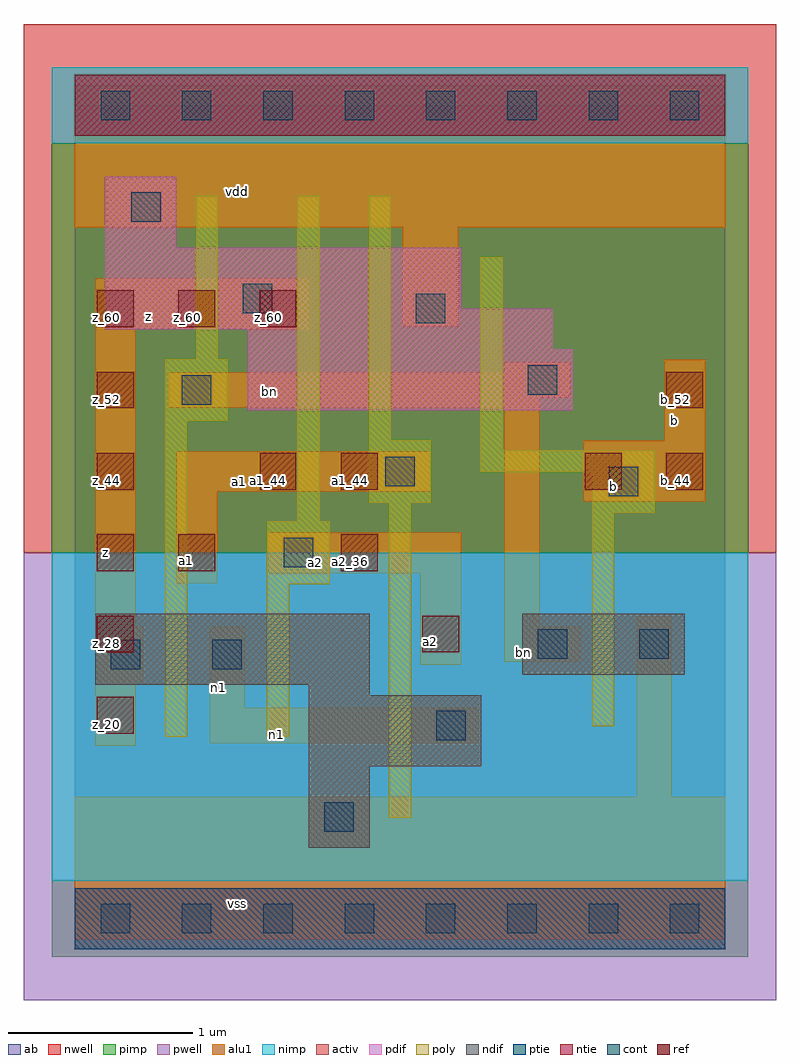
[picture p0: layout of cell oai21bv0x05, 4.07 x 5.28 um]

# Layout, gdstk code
import gdstk
lib = gdstk.Library(unit=1e-6, precision=2.5e-09)
def R(c, l, rs):  # rectangles x0, y0, x1, y1
    for r in rs: c.add(gdstk.rectangle(r[:2], r[2:], *l))
def A(c, l, x, y, w, h, nx, ny, dx, dy):  # array of equal rectangles
    R(c, l, [(x+i*dx, y+j*dy, x+i*dx+w, y+j*dy+h) for i in range(nx) for j in range(ny)])
ndif = (3, 0)
pdif = (4, 0)
ntie = (5, 0)
ptie = (6, 0)
ref = (24, 0)
cont = (25, 0)
pwell = (41, 0)
nwell = (42, 0)
activ = (43, 0)
pimp = (44, 0)
nimp = (45, 0)
poly = (46, 0)
alu1 = (49, 0)
ab = (63, 0)

oai21bv0x05 = lib.new_cell('oai21bv0x05')
R(oai21bv0x05, ndif, [(1.265,0.385,1.595,0.825), (1.265,0.825,2.2,1.21), (1.265,1.21,1.595,1.265), (0.11,1.265,1.595,1.65), (2.42,1.32,3.3,1.65)])
R(oai21bv0x05, pdif, [(0.935,2.75,2.695,3.08), (0.935,3.08,2.585,3.19), (0.165,3.19,2.585,3.3), (0.165,3.3,2.09,3.63), (0.165,3.63,0.55,4.015)])
R(oai21bv0x05, ntie, [(0,4.235,3.52,4.565)])
R(oai21bv0x05, ptie, [(0,-0.165,3.52,0.165)])
A(oai21bv0x05, ref, 0.12, 1, 0.2, 0.2, 1, 5, 0, 0.44)
A(oai21bv0x05, ref, 0.12, 3.2, 0.2, 0.2, 3, 1, 0.44, 0)
R(oai21bv0x05, ref, [(1.88,1.44,2.08,1.64), (0.56,1.88,0.76,2.08), (1.44,1.88,1.64,2.08), (1,2.32,1.2,2.52), (1.44,2.32,1.64,2.52), (2.76,2.32,2.96,2.52), (3.2,2.32,3.4,2.52), (3.2,2.76,3.4,2.96)])
A(oai21bv0x05, cont, 0.14, -0.08, 0.16, 0.16, 8, 2, 0.44, 4.4)
R(oai21bv0x05, cont, [(1.35,0.47,1.51,0.63), (1.955,0.965,2.115,1.125), (0.195,1.35,0.355,1.51), (0.745,1.35,0.905,1.51), (2.505,1.405,2.665,1.565), (3.055,1.405,3.215,1.565), (1.13,1.9,1.29,2.06), (2.89,2.285,3.05,2.445), (1.68,2.34,1.84,2.5), (0.58,2.78,0.74,2.94), (2.45,2.835,2.61,2.995), (1.845,3.22,2.005,3.38), (0.91,3.275,1.07,3.435), (0.305,3.77,0.465,3.93)])
R(oai21bv0x05, pwell, [(-0.275,-0.44,3.795,1.98)])
R(oai21bv0x05, nwell, [(-0.275,1.98,3.795,4.84)])
R(oai21bv0x05, activ, [(0,-0.165,3.52,0.165), (1.265,0.385,1.595,0.825), (1.265,0.825,2.2,1.21), (1.265,1.21,1.595,1.265), (0.11,1.265,1.595,1.65), (2.42,1.32,3.3,1.65), (0.935,2.75,2.695,3.08), (0.935,3.08,2.585,3.19), (0.165,3.19,2.585,3.3), (0.165,3.3,2.09,3.63), (0.165,3.63,0.55,4.015), (0,4.235,3.52,4.565)])
R(oai21bv0x05, pimp, [(-0.125,-0.205,3.645,0.205), (-0.125,1.98,3.645,4.195)])
R(oai21bv0x05, nimp, [(-0.125,0.205,3.645,1.98), (-0.125,4.195,3.645,4.605)])
R(oai21bv0x05, poly, [(1.7,0.545,1.82,2.25), (0.49,0.985,0.61,2.69), (1.04,0.985,1.16,1.81), (2.8,1.04,2.92,2.195), (1.04,1.81,1.38,2.15), (1.205,2.15,1.325,3.91), (2.8,2.195,3.14,2.415), (1.59,2.25,1.93,2.59), (2.195,2.415,3.14,2.535), (2.195,2.535,2.315,3.58), (1.59,2.59,1.71,3.91), (0.49,2.69,0.83,3.03), (0.655,3.03,0.775,3.91)])
R(oai21bv0x05, alu1, [(0,-0.11,3.52,0.66), (3.04,0.66,3.23,1.635), (0.11,0.935,0.33,1.28), (0.73,0.95,2.185,1.14), (0.73,1.14,0.92,1.58), (0.11,1.28,0.37,1.58), (1.87,1.375,2.09,1.87), (2.325,1.39,2.735,1.58), (0.11,1.58,0.33,3.19), (2.325,1.58,2.515,2.765), (0.55,1.815,0.77,2.31), (1.045,1.87,2.09,2.09), (2.75,2.255,3.41,2.585), (0.55,2.31,1.925,2.53), (3.19,2.585,3.41,3.025), (0.51,2.765,2.515,2.82), (0.51,2.82,2.68,2.955), (2.325,2.955,2.68,3.01), (0.11,3.19,1.265,3.465), (1.775,3.205,2.075,3.74), (0,3.74,3.52,4.51)])
R(oai21bv0x05, ab, [(0,0,3.52,4.4)])
oai21bv0x05.add(gdstk.Label('vss', (0.88,0.0825), layer=49, texttype=0))
oai21bv0x05.add(gdstk.Label('n1', (1.0925,0.9975), layer=49, texttype=0))
oai21bv0x05.add(gdstk.Label('bn', (2.4275,1.4375), layer=49, texttype=0))
oai21bv0x05.add(gdstk.Label('b', (2.915,2.3375), layer=49, texttype=0))
oai21bv0x05.add(gdstk.Label('b', (3.245,2.695), layer=49, texttype=0))
oai21bv0x05.add(gdstk.Label('a2', (1.925,1.4975), layer=49, texttype=0))
oai21bv0x05.add(gdstk.Label('n1', (0.7775,1.25), layer=49, texttype=0))
oai21bv0x05.add(gdstk.Label('a2', (1.305,1.925), layer=49, texttype=0))
oai21bv0x05.add(gdstk.Label('a1', (0.605,1.9375), layer=49, texttype=0))
oai21bv0x05.add(gdstk.Label('a1', (0.8925,2.365), layer=49, texttype=0))
oai21bv0x05.add(gdstk.Label('bn', (1.0525,2.8525), layer=49, texttype=0))
oai21bv0x05.add(gdstk.Label('z', (0.165,1.9825), layer=49, texttype=0))
oai21bv0x05.add(gdstk.Label('z', (0.3975,3.2575), layer=49, texttype=0))
oai21bv0x05.add(gdstk.Label('vdd', (0.88,3.9325), layer=49, texttype=0))
oai21bv0x05.add(gdstk.Label('z_60', (0.61,3.25), layer=24, texttype=0))
oai21bv0x05.add(gdstk.Label('z_60', (1.05,3.25), layer=24, texttype=0))
oai21bv0x05.add(gdstk.Label('z_20', (0.17,1.05), layer=24, texttype=0))
oai21bv0x05.add(gdstk.Label('z_28', (0.17,1.49), layer=24, texttype=0))
oai21bv0x05.add(gdstk.Label('z_36', (0.17,1.93), layer=24, texttype=0))
oai21bv0x05.add(gdstk.Label('z_44', (0.17,2.37), layer=24, texttype=0))
oai21bv0x05.add(gdstk.Label('z_52', (0.17,2.81), layer=24, texttype=0))
oai21bv0x05.add(gdstk.Label('z_60', (0.17,3.25), layer=24, texttype=0))
oai21bv0x05.add(gdstk.Label('a1_44', (1.49,2.37), layer=24, texttype=0))
oai21bv0x05.add(gdstk.Label('a2_36', (1.49,1.93), layer=24, texttype=0))
oai21bv0x05.add(gdstk.Label('a2_28', (1.93,1.49), layer=24, texttype=0))
oai21bv0x05.add(gdstk.Label('a1_36', (0.61,1.93), layer=24, texttype=0))
oai21bv0x05.add(gdstk.Label('a1_44', (1.05,2.37), layer=24, texttype=0))
oai21bv0x05.add(gdstk.Label('b_44', (2.81,2.37), layer=24, texttype=0))
oai21bv0x05.add(gdstk.Label('b_52', (3.25,2.81), layer=24, texttype=0))
oai21bv0x05.add(gdstk.Label('b_44', (3.25,2.37), layer=24, texttype=0))

lib.write_gds('oai21bv0x05.gds')
